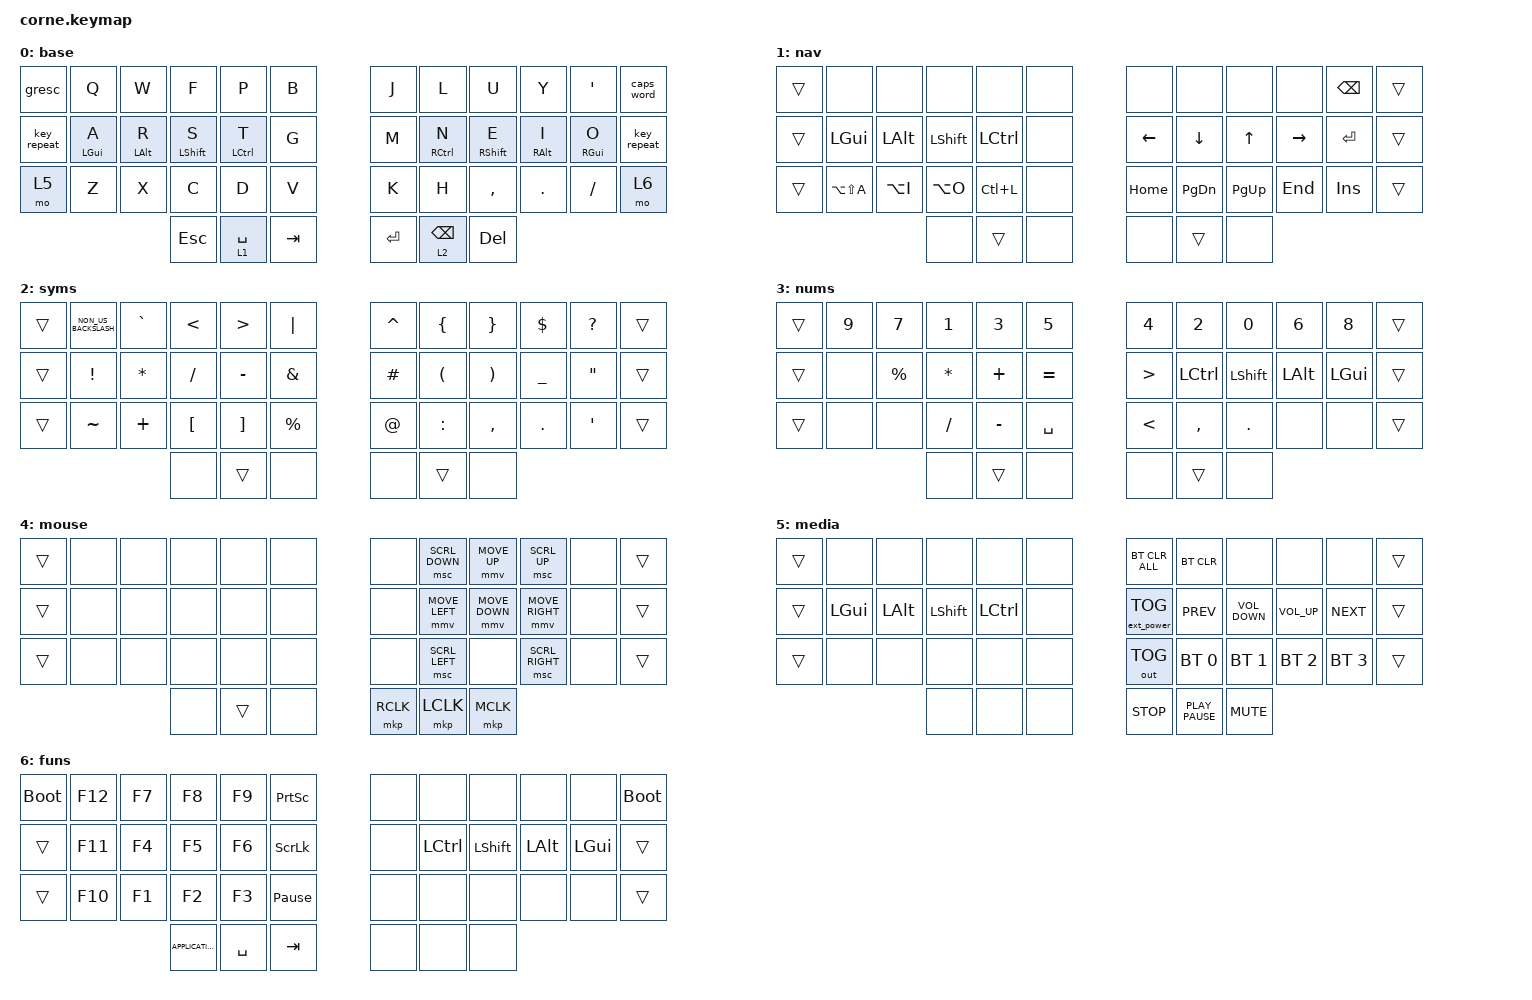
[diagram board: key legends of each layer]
/*
 * Copyright (c) 2020 The ZMK Contributors
 *
 * SPDX-License-Identifier: MIT
 */

#include <behaviors.dtsi>
#include <dt-bindings/zmk/bt.h>
#include <dt-bindings/zmk/ext_power.h>
#include <dt-bindings/zmk/keys.h>
#include <dt-bindings/zmk/outputs.h>
#include <dt-bindings/zmk/pointing.h>

&mt {
    flavor = "balanced";
    tapping-term-ms = <250>;
};

&lt {
    flavor = "balanced";
    tapping-term-ms = <250>;
};

/ {
    combos {
        compatible = "zmk,combos";

        equal {
            bindings = <&kp EQUAL>;
            key-positions = <31 32>;
        };

        backspaceWord {
            bindings = <&kp LC(BACKSPACE)>;
            key-positions = <7 8 9>;
        };

        semicolon {
            bindings = <&kp SEMICOLON>;
            key-positions = <32 33>;
        };

        mouse {
            bindings = <&mo 4>;
            key-positions = <29>;
            layers = <1>;
        };
    };

    keymap {
        compatible = "zmk,keymap";

        base {
            // -----------------------------------------------------------------------------------------
            // |  TAB |  Q  |  W  |  E  |  R  |  T  |   |  Y  |  U   |  I  |  O  |  P  | BKSP |
            // | CTRL |  A  |  S  |  D  |  F  |  G  |   |  H  |  J   |  K  |  L  |  ;  |  '   |
            // | SHFT |  Z  |  X  |  C  |  V  |  B  |   |  N  |  M   |  ,  |  .  |  /  | ESC  |
            //                    | GUI | LWR | SPC |   | ENT | RSE  | ALT |

            bindings = <
&gresc       &kp Q           &kp W           &kp F             &kp P        &kp B      &kp J      &kp L            &kp U              &kp Y            &kp SQT          &caps_word
&key_repeat  &mt LEFT_GUI A  &mt LEFT_ALT R  &mt LEFT_SHIFT S  &mt LCTRL T  &kp G      &kp M      &mt RCTRL N      &mt RIGHT_SHIFT E  &mt RIGHT_ALT I  &mt RIGHT_GUI O  &key_repeat
&mo 5        &kp Z           &kp X           &kp C             &kp D        &kp V      &kp K      &kp H            &kp COMMA          &kp DOT          &kp SLASH        &mo 6
                                             &kp ESCAPE        &lt 1 SPACE  &kp TAB    &kp ENTER  &lt 2 BACKSPACE  &kp DEL
            >;

            label = "base";
        };

        nav {
            bindings = <
&trans  &none          &none      &none           &none      &none    &none           &none      &none         &none      &kp BACKSPACE  &trans
&trans  &kp LGUI       &kp LALT   &kp LEFT_SHIFT  &kp LCTRL  &none    &kp LEFT_ARROW  &kp DOWN   &kp UP_ARROW  &kp RIGHT  &kp ENTER      &trans
&trans  &kp LA(LS(A))  &kp LA(I)  &kp LA(O)       &kp LC(L)  &none    &kp HOME        &kp PG_DN  &kp PG_UP     &kp END    &kp INS        &trans
                                  &none           &trans     &none    &none           &trans     &none
            >;

            label = "nav";
        };

        symbols {
            bindings = <
&trans  &kp NON_US_BACKSLASH  &kp GRAVE     &kp LESS_THAN  &kp GREATER_THAN  &kp PIPE         &kp CARET    &kp LEFT_BRACE        &kp RIGHT_BRACE        &kp DOLLAR      &kp QUESTION       &trans
&trans  &kp EXCLAMATION       &kp ASTERISK  &kp FSLH       &kp MINUS         &kp AMPERSAND    &kp HASH     &kp LEFT_PARENTHESIS  &kp RIGHT_PARENTHESIS  &kp UNDERSCORE  &kp DOUBLE_QUOTES  &trans
&trans  &kp TILDE             &kp PLUS      &kp LBKT       &kp RBKT          &kp PERCENT      &kp AT_SIGN  &kp COLON             &kp COMMA              &kp DOT         &kp SQT            &trans
                                            &none          &trans            &none            &none        &trans                &none
            >;

            label = "syms";
        };

        numbers {
            bindings = <
&trans  &kp N9  &kp N7       &kp N1        &kp N3     &kp N5       &kp N4            &kp N2     &kp N0          &kp N6    &kp N8    &trans
&trans  &none   &kp PERCENT  &kp ASTERISK  &kp PLUS   &kp EQUAL    &kp GREATER_THAN  &kp LCTRL  &kp LEFT_SHIFT  &kp LALT  &kp LGUI  &trans
&trans  &none   &none        &kp FSLH      &kp MINUS  &kp SPACE    &kp LESS_THAN     &kp COMMA  &kp DOT         &none     &none     &trans
                             &none         &trans     &none        &none             &trans     &none
            >;

            label = "nums";
        };

        mouse {
            label = "mouse";
            bindings = <
&trans  &none  &none  &none  &none   &none    &none      &msc SCRL_DOWN  &mmv MOVE_UP    &msc SCRL_UP     &none  &trans
&trans  &none  &none  &none  &none   &none    &none      &mmv MOVE_LEFT  &mmv MOVE_DOWN  &mmv MOVE_RIGHT  &none  &trans
&trans  &none  &none  &none  &none   &none    &none      &msc SCRL_LEFT  &none           &msc SCRL_RIGHT  &none  &trans
                      &none  &trans  &none    &mkp RCLK  &mkp LCLK       &mkp MCLK
            >;
        };

        media {
            bindings = <
&trans  &none     &none     &none           &none      &none    &bt BT_CLR_ALL     &bt BT_CLR        &none              &none            &none         &trans
&trans  &kp LGUI  &kp LALT  &kp LEFT_SHIFT  &kp LCTRL  &none    &ext_power EP_TOG  &kp K_PREV        &kp K_VOLUME_DOWN  &kp K_VOLUME_UP  &kp K_NEXT    &trans
&trans  &none     &none     &none           &none      &none    &out OUT_TOG       &bt BT_SEL 0      &bt BT_SEL 1       &bt BT_SEL 2     &bt BT_SEL 3  &trans
                            &none           &none      &none    &kp K_STOP         &kp K_PLAY_PAUSE  &kp K_MUTE
            >;

            label = "media";
        };

        functions {
            bindings = <
&bootloader  &kp F12  &kp F7  &kp F8             &kp F9     &kp PRINTSCREEN    &none  &none      &none           &none     &none     &bootloader
&trans       &kp F11  &kp F4  &kp F5             &kp F6     &kp SCROLLLOCK     &none  &kp LCTRL  &kp LEFT_SHIFT  &kp LALT  &kp LGUI  &trans
&trans       &kp F10  &kp F1  &kp F2             &kp F3     &kp PAUSE_BREAK    &none  &none      &none           &none     &none     &trans
                              &kp K_APPLICATION  &kp SPACE  &kp TAB            &none  &none      &none
            >;

            label = "funs";
        };
    };

    conditional_layers {
        compatible = "zmk,conditional-layers";

        numbers {
            if-layers = <1 2>;
            then-layer = <3>;
        };
    };
};
